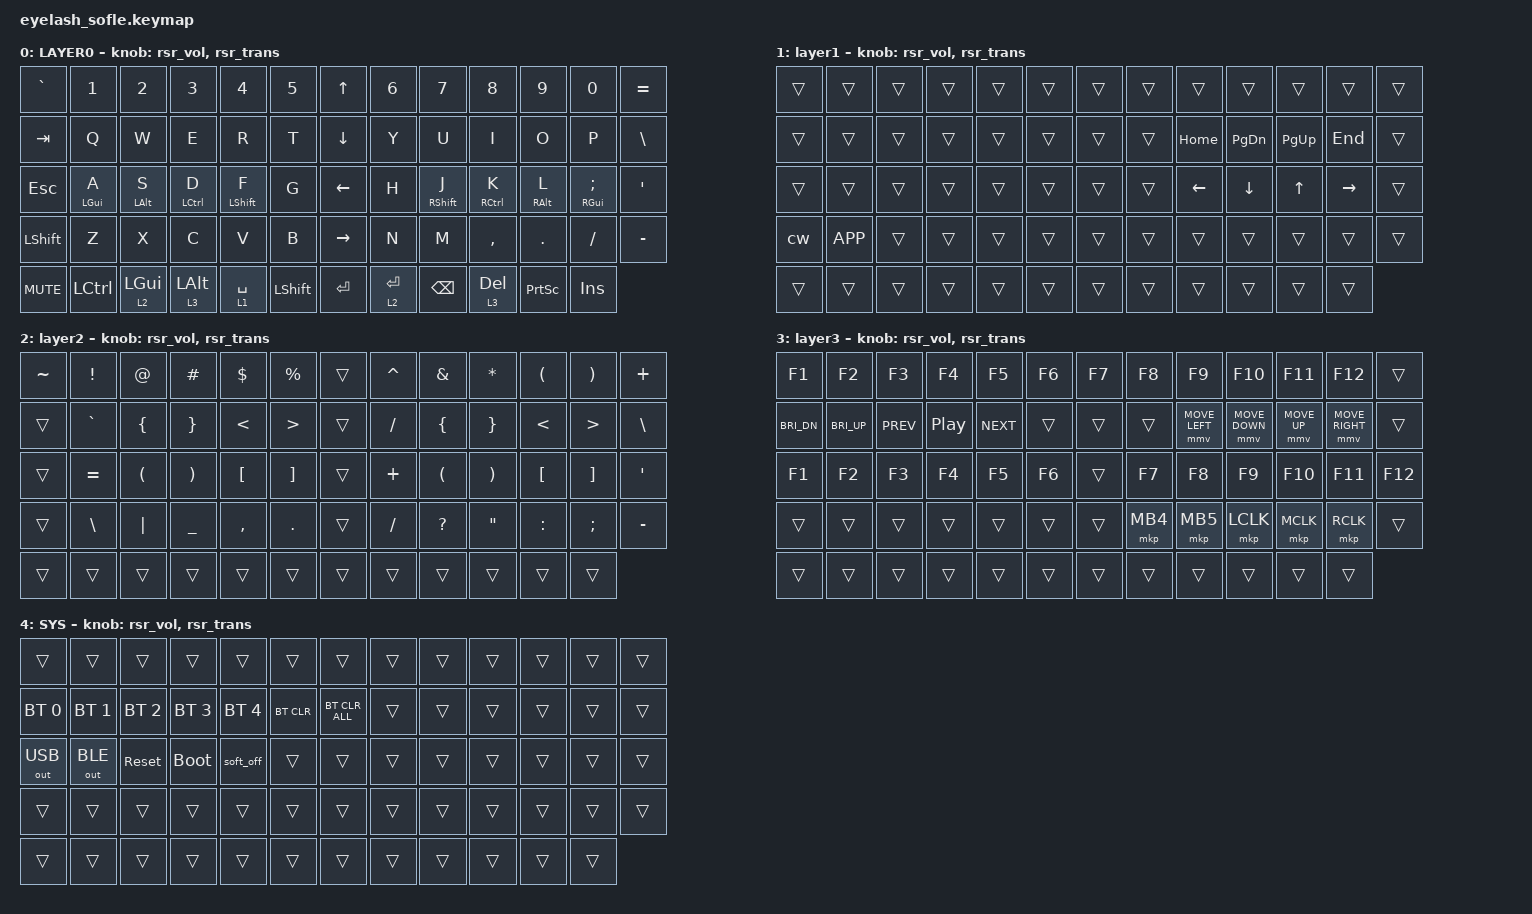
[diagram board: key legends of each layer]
#define ZMK_POINTING_DEFAULT_MOVE_VAL 1200  // 600
#define ZMK_POINTING_DEFAULT_SCRL_VAL 25   // 10

#include <input/processors.dtsi>
#include <zephyr/dt-bindings/input/input-event-codes.h>
#include <behaviors.dtsi>
#include <behaviors/runtime-sensor-rotate.dtsi>
#include "zmk-helpers/helper.h"
#include <dt-bindings/zmk/bt.h>
#include <dt-bindings/zmk/keys.h>
#include <dt-bindings/zmk/outputs.h>
#include <dt-bindings/zmk/pointing.h>
#include <dt-bindings/zmk/rgb.h>

/*
 * Key positions (64-key matrix, 13 keys per row, row 4 has 12).
 * Row r: left = 13r+0..5, right = 13r+6..12; row 4: left = 52..57, right = 58..63.
 * 52 and 58 are the encoder clicks and are excluded from the groups.
 * Thumbs: left 56 57 (lt1 SPACE, SHIFT), right 59 60 (lt2 ENTER, BACKSPACE).
 */
#define KEYS_L 0 1 2 3 4 5 13 14 15 16 17 18 26 27 28 29 30 31 39 40 41 42 43 44 53 54 55 56 57
#define KEYS_R 6 7 8 9 10 11 12 19 20 21 22 23 24 25 32 33 34 35 36 37 38 45 46 47 48 49 50 51 59 60 61 62 63
#define THUMBS 56 57 59 60

/*
 * Bilateral homerow mods: a mod only becomes a hold when the next key is on the
 * opposite hand (or a thumb). Same-hand rolls resolve as taps.
 */
#define MAKE_HRM(NAME, TRIGGER_POS)                                            \
    ZMK_HOLD_TAP(NAME, bindings = <&kp>, <&kp>; flavor = "balanced";           \
                 tapping-term-ms = <280>; quick-tap-ms = <175>;                \
                 require-prior-idle-ms = <150>; hold-trigger-on-release;       \
                 hold-trigger-key-positions = <TRIGGER_POS>;)

MAKE_HRM(hml, KEYS_R THUMBS) // Left-hand mods trigger on right hand + thumbs.
MAKE_HRM(hmr, KEYS_L THUMBS) // Right-hand mods trigger on left hand + thumbs.

&mmv_input_listener { input-processors = <&zip_xy_scaler 2 1>; };

&msc_input_listener { input-processors = <&zip_scroll_scaler 2 1>; };

&msc {
    acceleration-exponent = <1>;      // 0
    time-to-max-speed-ms = <100>;       // 300
    delay-ms = <0>;                   // 0
};

&mmv {
    time-to-max-speed-ms = <500>;
    acceleration-exponent = <1>;
    trigger-period-ms = <16>;
};

&soft_off { hold-time-ms = <2000>; };

/ {
    scroll_encoder: scroll_encoder {
        compatible = "zmk,behavior-sensor-rotate";
        #sensor-binding-cells = <0>;
        bindings = <&msc SCRL_DOWN>, <&msc SCRL_UP>;

        tap-ms = <100>;
    };

    behaviors {
        rsr_vol: rsr_vol {
            compatible = "zmk,behavior-runtime-sensor-rotate";
            #sensor-binding-cells = <0>;
            tap-ms = <5>;
            cw-binding = <&kp C_VOL_UP>;
            ccw-binding = <&kp C_VOL_DN>;
        };

        rsr_trans: rsr_trans {
            compatible = "zmk,behavior-runtime-sensor-rotate";
            #sensor-binding-cells = <0>;
            tap-ms = <0>;
        };

        cw: cw {
            compatible = "zmk,behavior-caps-word";
            #binding-cells = <0>;
            continue-list = <UNDERSCORE BACKSPACE DELETE>;
            label = "CW";
        };
    };

    combos {
        compatible = "zmk,combos";

        softoff {
            bindings = <&soft_off>;
            key-positions = <14 28 40>;
        };
    };

    conditional_layers {
        compatible = "zmk,conditional-layers";

        sys {
            if-layers = <1 2>;
            then-layer = <4>;
        };
    };

    macros {
        SHIFT_MCLK: SHIFT_MCLK {
            compatible = "zmk,behavior-macro";
            #binding-cells = <0>;
            bindings =
                <&macro_press>,
                <&kp LEFT_SHIFT>,
                <&macro_press>,
                <&mkp MB3>,
                <&macro_pause_for_release>,
                <&macro_release>,
                <&kp LEFT_SHIFT &mkp MB3>;

            label = "SHIFT_MCLK";
        };
    };

    keymap {
        compatible = "zmk,keymap";

        layer0 {
            bindings = <
&kp GRAVE     &kp N1     &kp N2        &kp N3        &kp N4  &kp N5       &kp UP_ARROW     &kp N6     &kp N7     &kp N8     &kp N9           &kp N0      &kp EQUAL
&kp TAB     &kp Q      &kp W         &kp E         &kp R   &kp T        &kp DOWN_ARROW   &kp Y      &kp U      &kp I      &kp O            &kp P       &kp BSLH
&kp ESC    &hml LGUI A  &hml LALT S  &hml LCTRL D  &hml LSHFT F  &kp G        &kp LEFT_ARROW   &kp H      &hmr RSHFT J  &hmr RCTRL K  &hmr RALT L  &hmr RGUI SEMI    &kp APOS
&kp LEFT_SHIFT  &kp Z      &kp X         &kp C         &kp V   &kp B        &kp RIGHT_ARROW  &kp N      &kp M      &kp COMMA  &kp DOT          &kp FSLH    &kp MINUS
&kp C_MUTE  &kp LCTRL  &lt 2 LEFT_GUI  &lt 3 LEFT_ALT  &lt 1 SPACE   &kp LEFT_SHIFT  &kp ENTER &lt 2 ENTER    &kp BACKSPACE  &lt 3 DELETE      &kp PRINTSCREEN  &kp INSERT
            >;

            sensor-bindings = <&rsr_vol &rsr_trans>;
            display-name = "LAYER0";
        };

        layer_1 {
            bindings = <
&trans     &trans  &trans  &trans  &trans  &trans      &trans  &trans  &trans  &trans  &trans  &trans  &trans
&trans     &trans  &trans  &trans  &trans  &trans      &trans  &trans  &kp HOME  &kp PG_DN  &kp PG_UP  &kp END  &trans
&trans     &trans  &trans  &trans  &trans  &trans      &trans  &trans  &kp LEFT  &kp DOWN  &kp UP  &kp RIGHT  &trans
&cw        &kp K_APP  &trans  &trans  &trans  &trans      &trans  &trans  &trans  &trans  &trans  &trans  &trans
&trans     &trans  &trans  &trans  &trans  &trans      &trans  &trans  &trans  &trans  &trans  &trans
            >;

            display-name = "layer1";
            sensor-bindings = <&rsr_vol &rsr_trans>;
        };

        layer_2 {
            bindings = <
&kp TILDE  &kp EXCL   &kp AT    &kp HASH  &kp DOLLAR  &kp PERCENT    &trans  &kp CARET  &kp AMPERSAND  &kp STAR  &kp LPAR   &kp RPAR   &kp PLUS
&trans     &kp GRAVE  &kp LBRC  &kp RBRC  &kp LT      &kp GT         &trans  &kp FSLH   &kp LBRC       &kp RBRC  &kp LT     &kp GT     &kp BSLH
&trans     &kp EQUAL  &kp LPAR  &kp RPAR  &kp LBKT    &kp RBKT       &trans  &kp PLUS   &kp LPAR       &kp RPAR  &kp LBKT   &kp RBKT   &kp APOS
&trans     &kp BSLH   &kp PIPE  &kp UNDER &kp COMMA   &kp DOT        &trans  &kp FSLH   &kp QUESTION   &kp DQT   &kp COLON  &kp SEMI   &kp MINUS
&trans     &trans  &trans  &trans  &trans  &trans      &trans  &trans  &trans  &trans  &trans  &trans
            >;

            display-name = "layer2";
            sensor-bindings = <&rsr_vol &rsr_trans>;
        };

        layer_3 {
            bindings = <
&kp F1  &kp F2  &kp F3  &kp F4  &kp F5  &kp F6     &kp F7  &kp F8  &kp F9  &kp F10  &kp F11  &kp F12  &trans
&kp C_BRI_DN  &kp C_BRI_UP  &kp C_PREV  &kp C_PP  &kp C_NEXT  &trans    &trans  &trans  &mmv MOVE_LEFT  &mmv MOVE_DOWN  &mmv MOVE_UP  &mmv MOVE_RIGHT  &trans
&kp F1       &kp F2        &kp F3      &kp F4    &kp F5      &kp F6    &trans  &kp F7  &kp F8         &kp F9          &kp F10       &kp F11          &kp F12
&trans  &trans  &trans  &trans  &trans  &trans     &trans  &mkp MB4  &mkp MB5  &mkp LCLK  &mkp MCLK  &mkp RCLK  &trans
&trans  &trans  &trans  &trans  &trans  &trans     &trans  &trans  &trans  &trans  &trans  &trans
            >;

            display-name = "layer3";
            sensor-bindings = <&rsr_vol &rsr_trans>;
        };

        layer_4 {
            bindings = <
&trans  &trans  &trans  &trans  &trans  &trans    &trans  &trans  &trans  &trans  &trans  &trans  &trans
&bt BT_SEL 0  &bt BT_SEL 1  &bt BT_SEL 2  &bt BT_SEL 3  &bt BT_SEL 4  &bt BT_CLR  &bt BT_CLR_ALL  &trans  &trans  &trans  &trans  &trans  &trans
&out OUT_USB  &out OUT_BLE  &sys_reset  &bootloader  &soft_off  &trans    &trans  &trans  &trans  &trans  &trans  &trans  &trans
&trans  &trans  &trans  &trans  &trans  &trans    &trans  &trans  &trans  &trans  &trans  &trans  &trans
&trans  &trans  &trans  &trans  &trans  &trans    &trans  &trans  &trans  &trans  &trans  &trans
            >;

            display-name = "SYS";
            sensor-bindings = <&rsr_vol &rsr_trans>;
        };
    };
};
